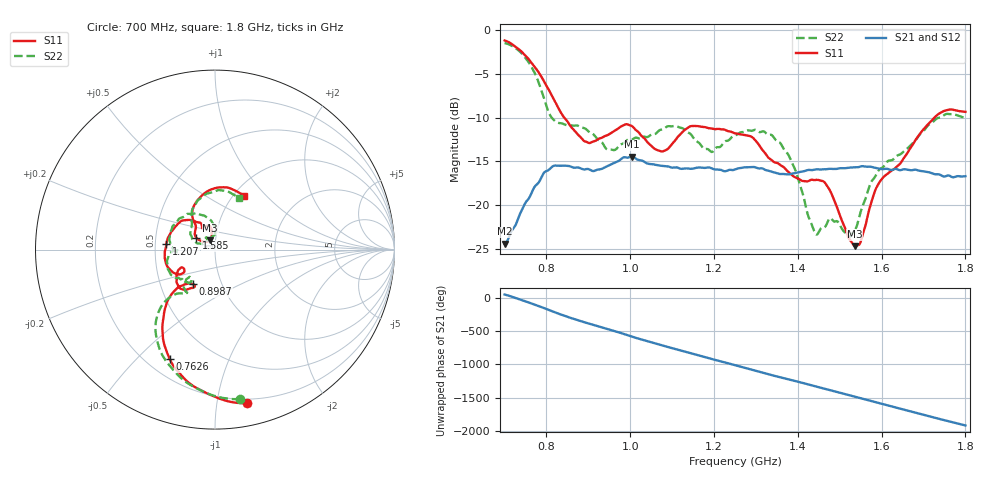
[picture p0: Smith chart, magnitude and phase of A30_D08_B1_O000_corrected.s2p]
! Created with skrf 1.9.0 (http://scikit-rf.org).
# Hz S RI R 50.0
!freq ReS11 ImS11 ReS21 ImS21 ReS12 ImS12 ReS22 ImS22
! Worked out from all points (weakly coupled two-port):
!   1601 points, 700 MHz to 1.8 GHz, reference 50 ohm
!   highest |S21| = -14.44 dB at 1.003 GHz (marker M1); lowest = -24.4 dB at 700.7 MHz (marker M2)
!   lowest |S11| = -24.7 dB at 1.536 GHz (marker M3), VSWR 1.12, Z = 47.1 + j4.88 ohm
!   |S11| at or under -10 dB: 842.6 MHz to 1.726 GHz (883.1 MHz wide, 68.8 % of centre)
!   |S22| runs from -23.7 to -1.5 dB; largest |S21 - S12| = 0.0036
!   S11 on the Smith chart (normalised r, x): 700 MHz: 0.17, -1.21; 762.6 MHz: 0.29, -0.63; 898.7 MHz: 0.73, -0.30; 1.207 GHz: 0.57, +0.04; 1.585 GHz: 0.81, +0.11; 1.8 GHz: 1.11, +0.76
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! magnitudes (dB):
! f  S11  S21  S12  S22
! 700 MHz  -1.2  -24.4  -24.2  -1.5
! 700.7 MHz  -1.2  -24.4  -24.1  -1.5
! 762.6 MHz  -3.6  -18.8  -18.8  -4.1
! 814.1 MHz  -7.6  -15.6  -15.6  -10.1
! 883.6 MHz  -12.3  -15.8  -15.7  -11.1
! 898.7 MHz  -12.8  -15.9  -15.9  -11.5
! 948.2 MHz  -11.9  -15.5  -15.5  -13.7
! 1.003 GHz  -10.9  -14.4  -14.6  -12.5
! 1.067 GHz  -13.7  -15.4  -15.4  -11.5
! 1.143 GHz  -11.0  -15.8  -15.8  -11.8
! 1.207 GHz  -11.3  -15.9  -16.0  -13.4
! 1.25 GHz  -11.8  -15.9  -15.8  -12.0
! 1.358 GHz  -15.4  -16.4  -16.4  -12.9
! 1.394 GHz  -16.8  -16.3  -16.3  -15.9
! 1.434 GHz  -17.1  -16.0  -15.9  -22.3
! 1.471 GHz  -17.8  -15.9  -15.9  -21.9
! 1.536 GHz  -24.7  -15.7  -15.7  -22.8
! 1.551 GHz  -24.0  -15.6  -15.6  -20.6
! 1.585 GHz  -18.2  -15.7  -15.7  -16.7
! 1.617 GHz  -16.3  -15.9  -15.9  -14.9
! 1.733 GHz  -9.7  -16.5  -16.5  -10.1
! 1.8 GHz  -9.3  -16.7  -16.7  -10.0
